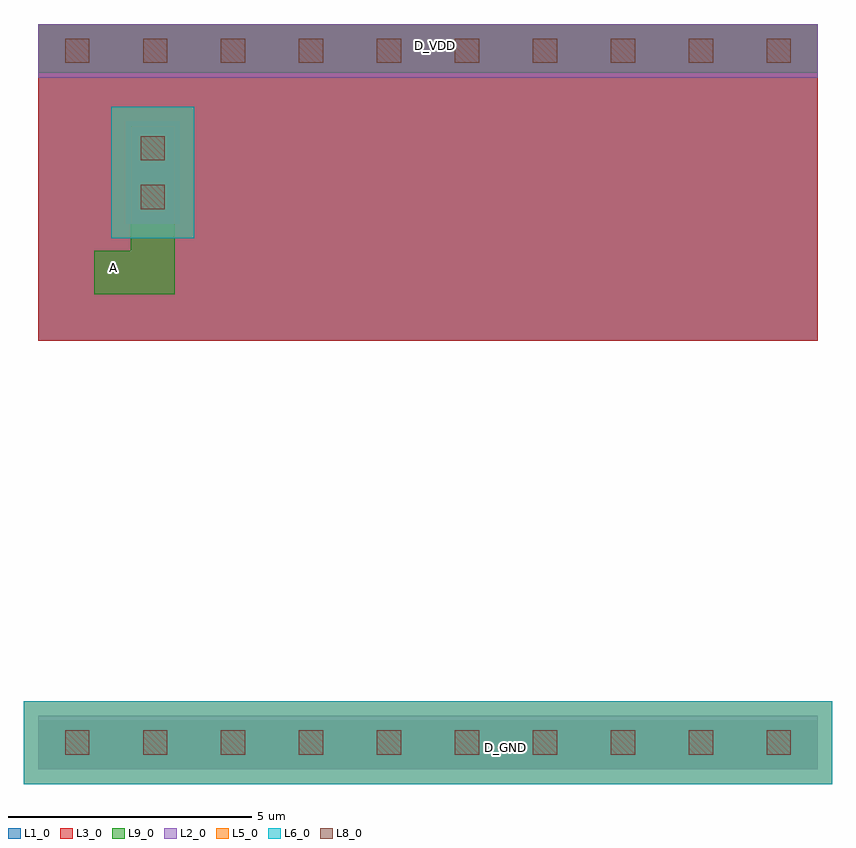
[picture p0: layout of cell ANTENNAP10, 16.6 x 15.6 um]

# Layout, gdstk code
import gdstk
lib = gdstk.Library(unit=1e-6, precision=1e-09)
def R(c, l, rs):  # rectangles x0, y0, x1, y1
    for r in rs: c.add(gdstk.rectangle(r[:2], r[2:], *l))
def A(c, l, x, y, w, h, nx, ny, dx, dy):  # array of equal rectangles
    R(c, l, [(x+i*dx, y+j*dy, x+i*dx+w, y+j*dy+h) for i in range(nx) for j in range(ny)])
L1_0 = (1, 0)
L2_0 = (2, 0)
L3_0 = (3, 0)
L5_0 = (5, 0)
L6_0 = (6, 0)
L8_0 = (8, 0)
L9_0 = (9, 0)

antennap10 = lib.new_cell('ANTENNAP10')
A(antennap10, L1_0, 0, 8.8, 1.6, 6.5, 10, 1, 1.6, 0)
A(antennap10, L2_0, 0, 0, 1.6, 1.1, 10, 2, 1.6, 14.2)
R(antennap10, L2_0, [(1.8,11.2,2.9,12.3), (1.8,12.2,2.9,13.3)])
A(antennap10, L3_0, 0, 8.8, 1.6, 6.5, 10, 1, 1.6, 0)
A(antennap10, L5_0, 1.6, -0.3, 1.6, 1.7, 8, 1, 1.6, 0)
R(antennap10, L5_0, [(-0.3,-0.3,1.6,1.4), (14.4,-0.3,16.3,1.4), (1.5,10.9,3.2,12.6), (1.5,11.9,3.2,13.6)])
A(antennap10, L6_0, 1.6, -0.3, 1.6, 1.7, 8, 1, 1.6, 0)
R(antennap10, L6_0, [(-0.3,-0.3,1.6,1.4), (14.4,-0.3,16.3,1.4), (1.5,10.9,3.2,12.6), (1.5,11.9,3.2,13.6)])
A(antennap10, L8_0, 0.55, 0.3, 0.5, 0.5, 10, 2, 1.6, 14.2)
R(antennap10, L8_0, [(2.1,11.5,2.6,12), (2.1,12.5,2.6,13)])
A(antennap10, L9_0, 0, 0, 1.6, 1, 10, 2, 1.6, 14.3)
R(antennap10, L9_0, [(9.15,0,10.05,0.9), (1.15,9.75,2.05,10.65), (1.25,10,1.85,10.6), (1.9,11.3,2.8,12.2), (1.9,12.2,2.8,12.3), (1.9,12.3,2.8,13.2), (7.7,14.4,8.6,15.3)])
antennap10.add(gdstk.FlexPath([(2.35,11.3),(2.35,10.2),(2.05,10.2)], 0.9, ends="flush", simple_path=True, layer=9, datatype=0))  # L9_0
antennap10.add(gdstk.Label('A', (1.55,10.3), layer=50, texttype=0))
antennap10.add(gdstk.Label('D_GND', (9.6,0.45), layer=50, texttype=0))
antennap10.add(gdstk.Label('D_VDD', (8.15,14.85), layer=50, texttype=0))

lib.write_gds('ANTENNAP10.gds')
